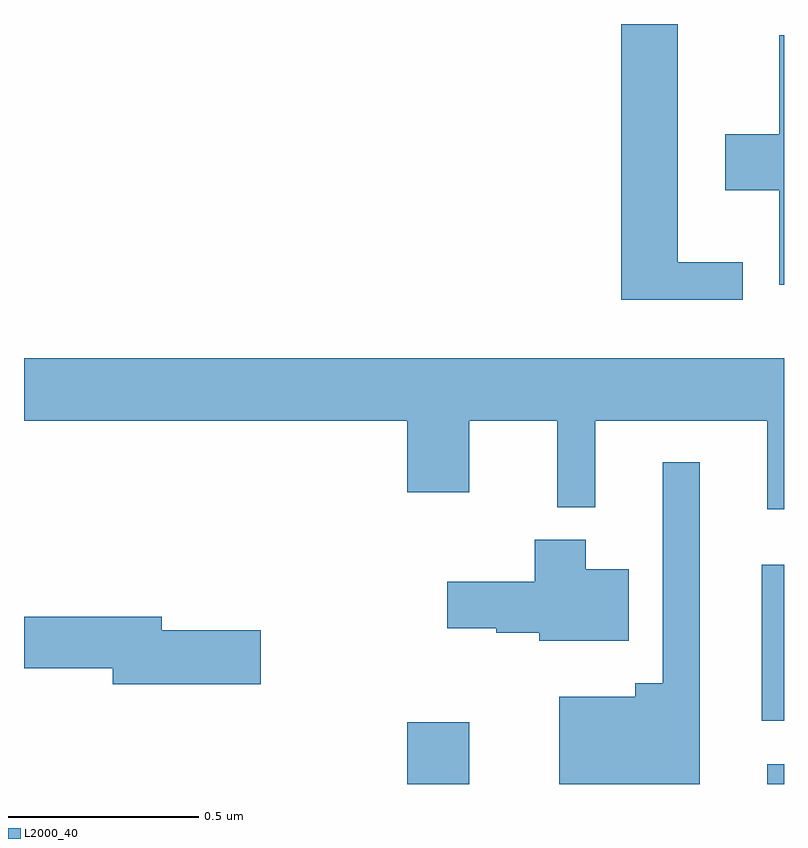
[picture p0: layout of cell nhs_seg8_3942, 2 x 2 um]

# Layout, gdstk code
import gdstk
lib = gdstk.Library(unit=1e-6, precision=1e-09)
def R(c, l, rs):  # rectangles x0, y0, x1, y1
    for r in rs: c.add(gdstk.rectangle(r[:2], r[2:], *l))
def P(c, l, *ps):  # polygons
    for p in ps: c.add(gdstk.Polygon(p, *l))
L2000_40 = (2000, 40)

nhs_seg8_3942 = lib.new_cell('nhs_seg8_3942')
R(nhs_seg8_3942, L2000_40, [(165.008,1092.9,165.172,1093.063), (165.956,1092.9,166,1092.952), (165.941,1093.067,166,1093.477)])
P(nhs_seg8_3942, L2000_40, [(165.892,1094.273),(165.721,1094.273),(165.721,1094.9),(165.572,1094.9),(165.572,1094.174),(165.892,1094.174)],
  [(166,1094.87),(165.988,1094.87),(165.988,1094.61),(165.846,1094.61),(165.846,1094.462),(165.988,1094.462),(165.988,1094.214),(166,1094.214)],
  [(164,1093.856),(165.008,1093.856),(165.008,1093.668),(165.172,1093.668),(165.172,1093.856),(165.403,1093.856),(165.403,1093.628),(165.503,1093.628),(165.503,1093.856),(165.956,1093.856),(165.956,1093.623),(166,1093.623),(166,1094.02),(164,1094.02)],
  [(165.778,1093.747),(165.681,1093.747),(165.681,1093.165),(165.608,1093.165),(165.608,1093.129),(165.408,1093.129),(165.408,1092.9),(165.778,1092.9)],
  [(165.592,1093.465),(165.478,1093.465),(165.478,1093.543),(165.344,1093.543),(165.344,1093.432),(165.114,1093.432),(165.114,1093.31),(165.243,1093.31),(165.243,1093.298),(165.356,1093.298),(165.356,1093.277),(165.592,1093.277)],
  [(164.623,1093.304),(164.362,1093.304),(164.362,1093.34),(164,1093.34),(164,1093.204),(164.234,1093.204),(164.234,1093.162),(164.623,1093.162)])

lib.write_gds('nhs_seg8_3942.gds')
